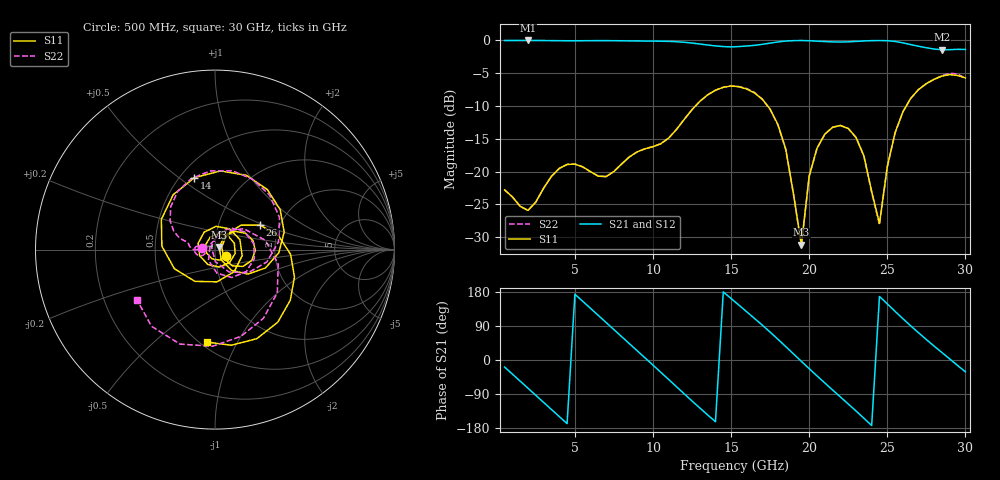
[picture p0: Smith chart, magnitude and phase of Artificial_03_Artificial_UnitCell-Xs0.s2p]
! Touchstone file exported from HFSS 2021.2.0
!  File:  C:/Users/pmena/AData/NRAO/Modelling/HFSS/Artificial/Artificial.aedt
!  Generated:  9:21:13 AM  Mar 22, 2023
!  Design:  03_Artificial_UnitCell-Xs0
!  Project:  Artificial
!  Setup:  Setup1
!  Solution:  Sweep
! Variables:
!  $Tc = 14.7
!  $l0NTN = 314.642654451045nm
!  $l0nm = 314.642654451045
!  $rn = 132
!  L1 = 440um
!  L2 = 884um
!  L3 = 804um
!  L4 = 372um
!  N1 = 110
!  N2 = 221
!  N3 = 201
!  N4 = 93
!  Wl = 35um
!  Wu = 19um
!  Zp = 50ohm
!  g = 1um
!  ha = 140um
!  hd = 140um
!  hp = 70um
!  lH = 1um
!  lL = 1um
!  la = 3140um
!  ld = 3140um
!  lext = 0
!  ll1 = 160um
!  ll2 = 160um
!  ll3 = 320um
!  ls = 3140um
!  lu = 4um
!  nn1 = 40
!  nn2 = 40
!  nn3 = 80
!  nu = 30
!  ts = 60nm
!  wH = 1um
!  wa = 280um
!  wd = 280um
!  wp = 140um
# GHz S MA R 50.000000
! Terminal data exported
! Port[1] = 1
! Port[2] = 2
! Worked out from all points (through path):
!   60 points, 500 MHz to 30 GHz, reference 50 ohm
!   highest |S21| = -0.01 dB at 2 GHz (marker M1); lowest = -1.4 dB at 28.5 GHz (marker M2)
!   group delay of S21, straight-line fit = 103 ps
!   lowest |S11| = -31.1 dB at 19.5 GHz (marker M3), VSWR 1.06, Z = 52.4 + j1.59 ohm
!   |S11| at or under -10 dB: start of sweep to 12.72 GHz; 17.34 GHz to 26.22 GHz (8.875 GHz wide, 40.8 % of centre)
!   |S22| runs from -31.4 to -5.0 dB; largest |S21 - S12| = 1.6e-12
!   S11 on the Smith chart (normalised r, x): 500 MHz: 1.13, -0.09; 14 GHz: 0.59, +0.57; 26 GHz: 1.58, +0.47; 30 GHz: 0.54, -0.76
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0.5  0.07255 -31.4  0.9974 -18.6  0.9974 -18.6  0.07255 174.2
2  0.05064 -157.9  0.9987 -74.6  0.9987 -74.6  0.05064 -171.3
4  0.1059 46.8  0.9942 -149.3  0.9942 -149.3  0.1059 -165.4
5.5  0.1088 -41.8  0.9938 155.0  0.9938 155.0  0.1088 171.7
7.5  0.1003 159.8  0.9945 80.1  0.9945 80.1  0.1004 -179.6
9  0.1417 54.7  0.9893 23.9  0.9893 23.9  0.1419 173.2
10.5  0.163 -49.0  0.9858 -32.4  0.9858 -32.4  0.1632 164.2
12  0.2501 -154.9  0.9672 -89.3  0.9672 -89.3  0.2504 156.2
14  0.4172 105.9  0.9075 -162.8  0.9075 -162.8  0.4174 108.4
15.5  0.4439 48.9  0.8972 144.8  0.8972 144.8  0.444 61.8
17.5  0.2991 -20.0  0.9533 73.6  0.9533 73.6  0.2969 -13.4
18.5  0.1482 -51.6  0.9878 35.4  0.9878 35.4  0.1471 -58.0
19.5  0.02776 33.2  0.9976 -3.6  0.9976 -3.6  0.02705 138.4
20.5  0.1507 42.6  0.9866 -41.9  0.9866 -41.9  0.1507 53.3
22  0.2248 -1.5  0.9718 -97.6  0.9718 -97.6  0.225 -12.9
23.5  0.132 -43.2  0.9899 -153.6  0.9899 -153.6  0.1314 -85.3
24.5  0.04027 22.6  0.9969 167.7  0.9969 167.7  0.03935 132.2
25.5  0.1981 43.4  0.9813 128.4  0.9813 128.4  0.198 36.0
26  0.2857 28.6  0.9577 108.9  0.9577 108.9  0.2854 10.4
27  0.4221 -3.6  0.9019 71.9  0.9019 71.9  0.4226 -34.8
28.5  0.5348 -49.1  0.8479 19.6  0.8479 19.6  0.5387 -91.4
30  0.5173 -94.7  0.8531 -31.1  0.8531 -31.1  0.5168 -147.4
